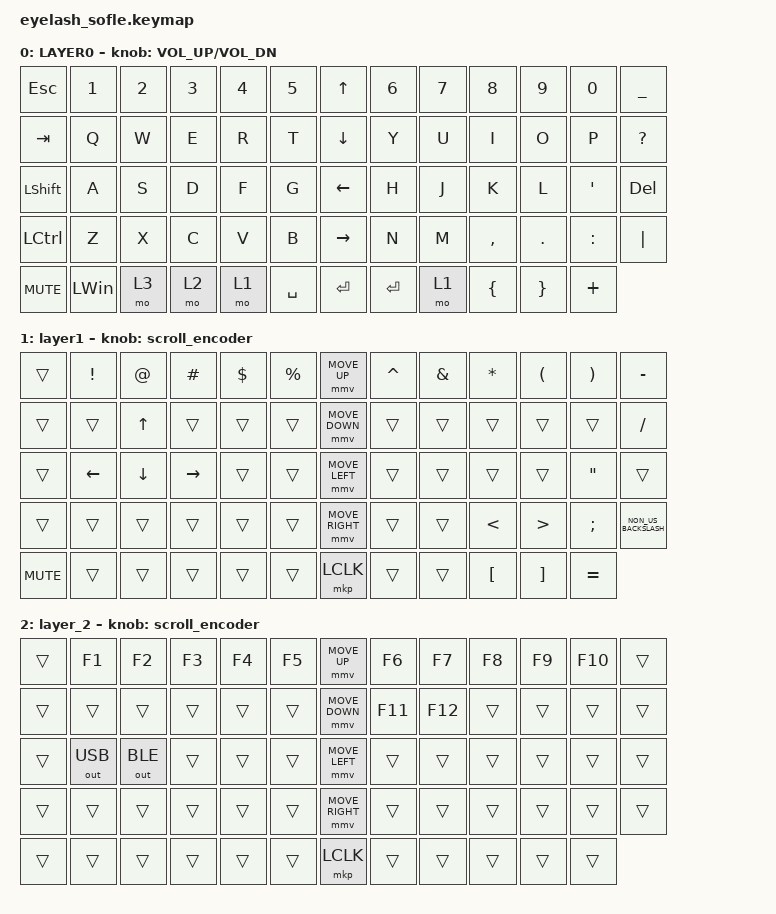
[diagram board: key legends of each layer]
#include <behaviors.dtsi>
#include <dt-bindings/zmk/bt.h>
#include <dt-bindings/zmk/keys.h>
#include <dt-bindings/zmk/mouse.h>
#include <dt-bindings/zmk/outputs.h>
#include <dt-bindings/zmk/rgb.h>

#include <input/processors.dtsi>

/*

   &mmv_input_listener {
       input-processors = <&zip_xy_scaler 2 1>;
   };

   &msc_input_listener {
       input-processors = <&zip_xy_scaler 2 1>;
   };

 */

#define ZMK_MOUSE_DEFAULT_MOVE_VAL 1200  // 600
#define ZMK_MOUSE_DEFAULT_SCRL_VAL 20    // 10


/ {
    behaviors {
        mmv {
            acceleration-exponent = <1>;      // 1
            time-to-max-speed-ms = <900>;    // 40
            delay-ms = <0>;                   // 0
        };

        msc {
            acceleration-exponent = <1>;      // 0
            time-to-max-speed-ms = <400>;      // 500
            delay-ms = <0>;                   //   10
        };
    };

    scroll_encoder: scroll_encoder {
        compatible = "zmk,behavior-sensor-rotate";
        #sensor-binding-cells = <0>;
        bindings = <&msc SCRL_DOWN>, <&msc SCRL_UP>;

        tap-ms = <30>;
    };

    keymap {
        compatible = "zmk,keymap";

        layer0 {
            bindings = <
&kp ESC           &kp N1        &kp N2  &kp N3  &kp N4  &kp N5       &kp UP_ARROW     &kp N6     &kp N7  &kp N8          &kp N9           &kp N0            &kp UNDERSCORE
&kp TAB           &kp Q         &kp W   &kp E   &kp R   &kp T        &kp DOWN_ARROW   &kp Y      &kp U   &kp I           &kp O            &kp P             &kp QUESTION
&kp LSHIFT        &kp A         &kp S   &kp D   &kp F   &kp G        &kp LEFT_ARROW   &kp H      &kp J   &kp K           &kp L            &kp SINGLE_QUOTE  &kp DELETE
&kp LEFT_CONTROL  &kp Z         &kp X   &kp C   &kp V   &kp B        &kp RIGHT_ARROW  &kp N      &kp M   &kp COMMA       &kp DOT          &kp COLON         &kp PIPE
&kp C_MUTE        &kp LEFT_WIN  &mo 3   &mo 2   &mo 1   &kp SPACE    &kp ENTER        &kp ENTER  &mo 1   &kp LEFT_BRACE  &kp RIGHT_BRACE  &kp PLUS
            >;

            sensor-bindings = <&inc_dec_kp C_VOLUME_UP C_VOL_DN>;
            display-name = "LAYER0";
        };

        layer_1 {
            bindings = <
&trans      &kp EXCLAMATION  &kp AT_SIGN     &kp HASH   &kp DOLLAR  &kp PERCENT    &mmv MOVE_UP     &kp CARET  &kp AMPERSAND  &kp ASTERISK      &kp LEFT_PARENTHESIS  &kp RIGHT_PARENTHESIS  &kp MINUS
&trans      &trans           &kp UP_ARROW    &trans     &trans      &trans         &mmv MOVE_DOWN   &trans     &trans         &trans            &trans                &trans                 &kp SLASH
&trans      &kp LEFT_ARROW   &kp DOWN_ARROW  &kp RIGHT  &trans      &trans         &mmv MOVE_LEFT   &trans     &trans         &trans            &trans                &kp DOUBLE_QUOTES      &trans
&trans      &trans           &trans          &trans     &trans      &trans         &mmv MOVE_RIGHT  &trans     &trans         &kp LESS_THAN     &kp GREATER_THAN      &kp SEMICOLON          &kp NON_US_BACKSLASH
&kp C_MUTE  &trans           &trans          &trans     &trans      &trans         &mkp LCLK        &trans     &trans         &kp LEFT_BRACKET  &kp RIGHT_BRACKET     &kp EQUAL
            >;


            display-name = "layer1";
            sensor-bindings = <&scroll_encoder>;
        };

        layer_2 {
            bindings = <
&trans  &kp F1        &kp F2        &kp F3  &kp F4  &kp F5    &mmv MOVE_UP     &kp F6   &kp F7   &kp F8  &kp F9  &kp F10  &trans
&trans  &trans        &trans        &trans  &trans  &trans    &mmv MOVE_DOWN   &kp F11  &kp F12  &trans  &trans  &trans   &trans
&trans  &out OUT_USB  &out OUT_BLE  &trans  &trans  &trans    &mmv MOVE_LEFT   &trans   &trans   &trans  &trans  &trans   &trans
&trans  &trans        &trans        &trans  &trans  &trans    &mmv MOVE_RIGHT  &trans   &trans   &trans  &trans  &trans   &trans
&trans  &trans        &trans        &trans  &trans  &trans    &mkp LCLK        &trans   &trans   &trans  &trans  &trans
            >;

            sensor-bindings = <&scroll_encoder>;
        };
    };
};
